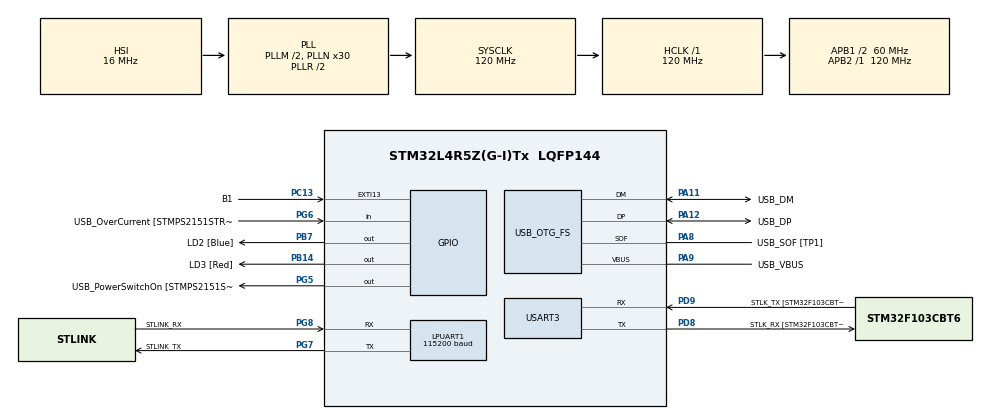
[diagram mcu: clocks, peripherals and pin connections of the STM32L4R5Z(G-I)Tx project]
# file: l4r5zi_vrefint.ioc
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ADC1.Channel-1\#ChannelRegularConversion=ADC_CHANNEL_VREFINT
ADC1.ContinuousConvMode=ENABLE
ADC1.DMAContinuousRequests=ENABLE
ADC1.NbrOfConversion=1
ADC1.NbrOfConversionFlag=1
ADC1.OffsetNumber-1\#ChannelRegularConversion=ADC_OFFSET_NONE
ADC1.Overrun=ADC_OVR_DATA_OVERWRITTEN
ADC1.Rank-1\#ChannelRegularConversion=1
ADC1.SamplingTime-1\#ChannelRegularConversion=ADC_SAMPLETIME_2CYCLES_5
ADC1.master=1
Dma.ADC1.0.Direction=DMA_PERIPH_TO_MEMORY
Dma.ADC1.0.EventEnable=DISABLE
Dma.ADC1.0.Instance=DMA1_Channel1
Dma.ADC1.0.MemDataAlignment=DMA_MDATAALIGN_HALFWORD
Dma.ADC1.0.MemInc=DMA_MINC_ENABLE
Dma.ADC1.0.Mode=DMA_CIRCULAR
Dma.ADC1.0.PeriphDataAlignment=DMA_PDATAALIGN_HALFWORD
Dma.ADC1.0.PeriphInc=DMA_PINC_DISABLE
Dma.ADC1.0.Polarity=HAL_DMAMUX_REQUEST_GEN_RISING
Dma.ADC1.0.Priority=DMA_PRIORITY_LOW
Dma.ADC1.0.RequestNumber=1
Dma.ADC1.0.SignalID=NONE
Dma.ADC1.0.SyncEnable=DISABLE
Dma.ADC1.0.SyncPolarity=HAL_DMAMUX_SYNC_NO_EVENT
Dma.ADC1.0.SyncRequestNumber=1
Dma.ADC1.0.SyncSignalID=NONE
Dma.Request0=ADC1
LPUART1.BaudRate=115200
LPUART1.WordLength=UART_WORDLENGTH_8B
Mcu.Family=STM32L4
Mcu.Name=STM32L4R5Z(G-I)Tx
Mcu.Package=LQFP144
NVIC.DMA1_Channel1_IRQn=true\:0\:0\:false\:false\:true\:false\:true\:true
NVIC.PriorityGroup=NVIC_PRIORITYGROUP_4
PA10.GPIO_Label=USB_ID
PA10.Signal=USB_OTG_FS_ID
PA11.GPIO_Label=USB_DM
PA11.Mode=Device_Only
PA11.Signal=USB_OTG_FS_DM
PA12.GPIO_Label=USB_DP
PA12.Mode=Device_Only
PA12.Signal=USB_OTG_FS_DP
PA13\ (JTMS/SWDIO).GPIO_Label=TMS
PA13\ (JTMS/SWDIO).Mode=Trace_Asynchronous_SW
PA13\ (JTMS/SWDIO).Signal=SYS_JTMS-SWDIO
PA14\ (JTCK/SWCLK).GPIO_Label=TCK
PA14\ (JTCK/SWCLK).Mode=Trace_Asynchronous_SW
PA14\ (JTCK/SWCLK).Signal=SYS_JTCK-SWCLK
PA8.GPIO_Label=USB_SOF [TP1]
PA8.Mode=Activate_SOF_FS
PA8.Signal=USB_OTG_FS_SOF
PA9.GPIO_Label=USB_VBUS
PA9.Mode=Activate_VBUS
PA9.Signal=USB_OTG_FS_VBUS
PB14.GPIO_Label=LD3 [Red]
PB14.Signal=GPIO_Output
PB3\ (JTDO/TRACESWO).GPIO_Label=SWO
PB3\ (JTDO/TRACESWO).Mode=Trace_Asynchronous_SW
PB3\ (JTDO/TRACESWO).Signal=SYS_JTDO-SWO
PB7.GPIO_Label=LD2 [Blue]
PB7.Signal=GPIO_Output
PC13.GPIO_Label=B1
PC13.Signal=GPXTI13
PC14-OSC32_IN\ (PC14).Mode=LSE-External-Oscillator
PC14-OSC32_IN\ (PC14).Signal=RCC_OSC32_IN
PC15-OSC32_OUT\ (PC15).Mode=LSE-External-Oscillator
PC15-OSC32_OUT\ (PC15).Signal=RCC_OSC32_OUT
PD8.GPIO_Label=STLK_RX [STM32F103CBT6_PA3]
PD8.Mode=Asynchronous
PD8.Signal=USART3_TX
PD9.GPIO_Label=STLK_TX [STM32F103CBT6_PA2]
PD9.Mode=Asynchronous
PD9.Signal=USART3_RX
PG5.GPIO_Label=USB_PowerSwitchOn [STMPS2151STR_EN]
PG5.Signal=GPIO_Output
PG6.GPIO_Label=USB_OverCurrent [STMPS2151STR_FAULT]
PG6.Signal=GPIO_Input
PG7.GPIO_Label=STLINK_TX
PG7.Mode=Asynchronous
PG7.Signal=LPUART1_TX
PG8.GPIO_Label=STLINK_RX
PG8.Mode=Asynchronous
PG8.Signal=LPUART1_RX
PH0-OSC_IN\ (PH0).Signal=RCC_OSC_IN
PH1-OSC_OUT\ (PH1).Signal=RCC_OSC_OUT
ProjectManager.HeapSize=0x200
ProjectManager.StackSize=0x400
ProjectManager.TargetToolchain=STM32CubeIDE
RCC.48MHZClocksFreq_Value=24000000
RCC.ADCFreq_Value=48000000
RCC.AHBFreq_Value=120000000
RCC.APB1CLKDivider=RCC_HCLK_DIV2
RCC.APB1Freq_Value=60000000
RCC.APB1TimFreq_Value=120000000
RCC.APB2Freq_Value=120000000
RCC.APB2TimFreq_Value=120000000
RCC.CK48CLockSelection=RCC_USBCLKSOURCE_HSI48
RCC.CortexFreq_Value=120000000
RCC.HCLKFreq_Value=120000000
RCC.HSE_VALUE=8000000
RCC.HSI48_VALUE=48000000
RCC.HSI_VALUE=16000000
RCC.MSI_VALUE=4000000
RCC.PLLM1=2
RCC.PLLM2=2
RCC.PLLMUL=RCC_PLL_MUL9
RCC.PLLN=30
RCC.PLLSAI1N=12
RCC.PLLSourceVirtual=RCC_PLLSOURCE_HSI
RCC.PRESCALERUSB=RCC_USBCLKSOURCE_PLL_DIV1_5
RCC.SYSCLKFreq_VALUE=120000000
RCC.SYSCLKSource=RCC_SYSCLKSOURCE_PLLCLK
RCC.SYSCLKSourceVirtual=RCC_SYSCLKSOURCE_PLLCLK
RCC.USBFreq_Value=48000000
RCC.VCOOutputFreq_Value=240000000
USART3.VirtualMode-Asynchronous=VM_ASYNC
USB_OTG_FS.VirtualMode=Device_Only
VP_ADC1_Vref_Input.Mode=IN-Vrefint
board=NUCLEO-L4R5ZI

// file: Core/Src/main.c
/* USER CODE BEGIN Header */
/**
  ******************************************************************************
  * @file           : main.c
  * @brief          : Main program body
  ******************************************************************************
  * @attention
  *
  * Copyright (c) 2022 STMicroelectronics.
  * All rights reserved.
  *
  * This software is licensed under terms that can be found in the LICENSE file
  * in the root directory of this software component.
  * If no LICENSE file comes with this software, it is provided AS-IS.
  *
  ******************************************************************************
  */
/* USER CODE END Header */
#include "main.h"
#include "adc.h"
#include "dma.h"
#include "usart.h"
#include "usb_otg.h"
#include "gpio.h"

/* USER CODE BEGIN Includes */
#include <stdio.h>
/* USER CODE END Includes */

/* USER CODE BEGIN PD */
#define serial hlpuart1
/* USER CODE END PD */

/* USER CODE BEGIN PV */
//ADC Battery
uint16_t adc_buf[8];
float vrefint = 0.0;
/* USER CODE END PV */

void SystemClock_Config(void);

int main(void)
{

  /* MCU Configuration--------------------------------------------------------*/

  /* Reset of all peripherals, Initializes the Flash interface and the Systick. */
  HAL_Init();

  /* Configure the system clock */
  SystemClock_Config();

  /* Initialize all configured peripherals */
  MX_GPIO_Init();
  MX_LPUART1_UART_Init();
  MX_USART3_UART_Init();
  MX_DMA_Init();
  MX_ADC1_Init();
  MX_USB_OTG_FS_PCD_Init();
  /* USER CODE BEGIN 2 */
  HAL_ADC_Start_DMA(&hadc1, (uint32_t *)adc_buf, 8);
  __HAL_DMA_DISABLE_IT(&hdma_adc1, DMA_IT_TC);
   __HAL_DMA_DISABLE_IT(&hdma_adc1, DMA_IT_HT);
  printf("START PROCESS\r\n");
  /* USER CODE END 2 */

  /* Infinite loop */
  /* USER CODE BEGIN WHILE */
  while (1)
  {
	  uint32_t sum = 0;
	  for(int i=0; i<8; i++)
	  {
		  sum += adc_buf[i];
	  }
	  vrefint = (((float)sum/8.0)/4096.0)*3.3;
	  printf("vrefint = %.2f volt\r\n", vrefint);
	  HAL_Delay(1000);
    /* USER CODE END WHILE */

  }
}

void SystemClock_Config(void)
{
  RCC_OscInitTypeDef RCC_OscInitStruct = {0};
  RCC_ClkInitTypeDef RCC_ClkInitStruct = {0};

  /** Configure the main internal regulator output voltage
  */
  if (HAL_PWREx_ControlVoltageScaling(PWR_REGULATOR_VOLTAGE_SCALE1_BOOST) != HAL_OK)
  {
    Error_Handler();
  }

  /** Initializes the RCC Oscillators according to the specified parameters
  * in the RCC_OscInitTypeDef structure.
  */
  RCC_OscInitStruct.OscillatorType = RCC_OSCILLATORTYPE_HSI48|RCC_OSCILLATORTYPE_HSI;
  RCC_OscInitStruct.HSIState = RCC_HSI_ON;
  RCC_OscInitStruct.HSI48State = RCC_HSI48_ON;
  RCC_OscInitStruct.HSICalibrationValue = RCC_HSICALIBRATION_DEFAULT;
  RCC_OscInitStruct.PLL.PLLState = RCC_PLL_ON;
  RCC_OscInitStruct.PLL.PLLSource = RCC_PLLSOURCE_HSI;
  RCC_OscInitStruct.PLL.PLLM = 2;
  RCC_OscInitStruct.PLL.PLLN = 30;
  RCC_OscInitStruct.PLL.PLLP = RCC_PLLP_DIV2;
  RCC_OscInitStruct.PLL.PLLQ = RCC_PLLQ_DIV2;
  RCC_OscInitStruct.PLL.PLLR = RCC_PLLR_DIV2;
  if (HAL_RCC_OscConfig(&RCC_OscInitStruct) != HAL_OK)
  {
    Error_Handler();
  }

  /** Initializes the CPU, AHB and APB buses clocks
  */
  RCC_ClkInitStruct.ClockType = RCC_CLOCKTYPE_HCLK|RCC_CLOCKTYPE_SYSCLK
                              |RCC_CLOCKTYPE_PCLK1|RCC_CLOCKTYPE_PCLK2;
  RCC_ClkInitStruct.SYSCLKSource = RCC_SYSCLKSOURCE_PLLCLK;
  RCC_ClkInitStruct.AHBCLKDivider = RCC_SYSCLK_DIV1;
  RCC_ClkInitStruct.APB1CLKDivider = RCC_HCLK_DIV2;
  RCC_ClkInitStruct.APB2CLKDivider = RCC_HCLK_DIV1;

  if (HAL_RCC_ClockConfig(&RCC_ClkInitStruct, FLASH_LATENCY_5) != HAL_OK)
  {
    Error_Handler();
  }
}

/* USER CODE BEGIN 4 */
int __io_putchar(int ch)
{
    HAL_UART_Transmit(&serial, (uint8_t *)&ch, 1, 0xFFFF);
    return ch;
}

int __io_getchar(void)
{
    int ch = 0;
    while(!__HAL_UART_GET_FLAG(&serial, UART_FLAG_RXNE));
    HAL_UART_Receive(&serial, (uint8_t *)&ch, 1, 0xFFFF);
    return ch;
}
/* USER CODE END 4 */

void Error_Handler(void)
{
  __disable_irq();
  while (1)
  {
  }
}
